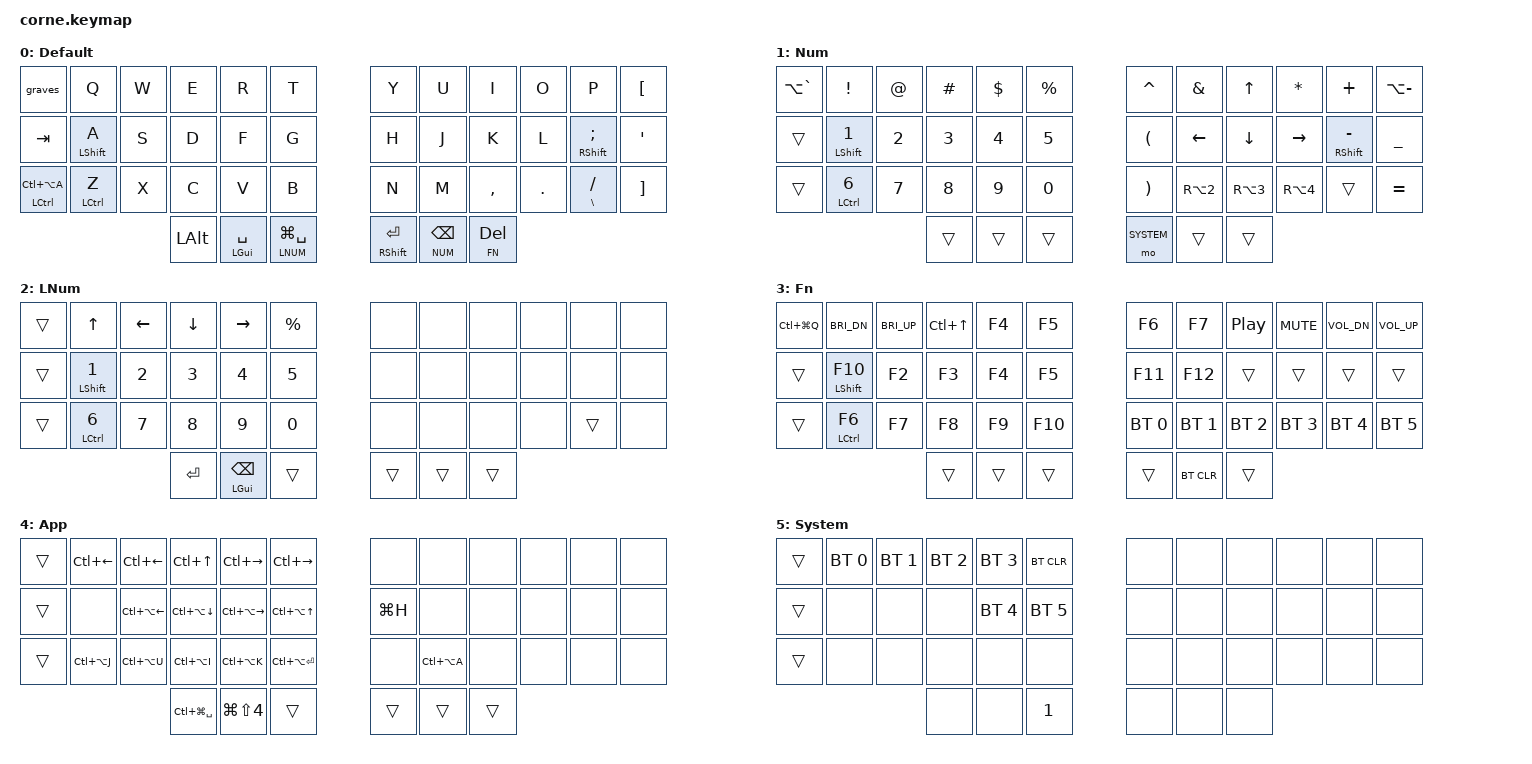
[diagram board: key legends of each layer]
/*
 * Copyright (c) 2020 The ZMK Contributors
 *
 * SPDX-License-Identifier: MIT
 */

#include <behaviors.dtsi>
#include <dt-bindings/zmk/keys.h>
#include <dt-bindings/zmk/bt.h>
#include <dt-bindings/zmk/outputs.h>

#define DEFAULT 0
#define NUM     1
#define LNUM    2
#define FN      3
#define APP     4
#define SYSTEM  5

&lt { quick-tap-ms = <200>; };
&mt { quick-tap-ms = <200>; };

/ {

  behaviors {
    
    graves: grave_escape {
      compatible = "zmk,behavior-mod-morph";
      #binding-cells = <0>;
      bindings = <&lhp APP GRAVE>, <&kp ESC>;
      mods = <(MOD_LGUI|MOD_RGUI)>;
    };
      
    hm: homerow_mods {
      compatible = "zmk,behavior-hold-tap";
      label = "HOMEROW_MODS";
      #binding-cells = <2>;
      tapping_term_ms = <300>;
      quick-tap-ms = <300>;
      flavor = "tap-preferred";
      bindings = <&kp>, <&kp>;
    };

    hmt: homerow_mods_no_quicktap {
      compatible = "zmk,behavior-hold-tap";
      label = "HOMEROW_MODS";
      #binding-cells = <2>;
      tapping_term_ms = <200>;
      quick-tap-ms = <200>;
      flavor = "balanced";
      bindings = <&kp>, <&kp>;
    };

    ltp: layer_tap_prefered {
      compatible = "zmk,behavior-hold-tap";
      label = "LAYER_TAP_PREFERED";
      #binding-cells = <2>;
      tapping_term_ms = <200>;
      quick-tap-ms = <100>;
      flavor = "tap-preferred";
      bindings = <&mo>, <&kp>;
    };

    lhp: layer_hold_prefered {
      compatible = "zmk,behavior-hold-tap";
      label = "LAYER_HOLD_PREFERED";
      #binding-cells = <2>;
      tapping_term_ms = <250>;
      flavor = "hold-preferred";
      bindings = <&mo>, <&kp>;
    };
  };

  keymap {
    compatible = "zmk,keymap";

  //       default_layer {
  //       label = "Default";
  //       bindings = <
  //               &graves                &kp Q          &kp W        &kp E   &kp R   &kp T         &kp Y       &kp U     &kp I       &kp O      &kp P             &kp LBKT
  //               &kp TAB                &hm LSHFT A    &kp S        &kp D   &kp F   &kp G         &kp H       &kp J     &kp K       &kp L      &hm RSHFT SEMI    &kp APOS
  //               &hm LCTRL LC(LA(A))    &hm LCTRL Z    &kp X        &kp C   &kp V   &kp B         &kp N       &kp M     &kp COMMA   &kp DOT    &mt BSLH FSLH     &kp RBKT
  //                                      &kp LALT       &hm LGUI SPACE   &ltp LNUM LG(SPACE)       &lhp RSHFT ENTER   &lhp NUM BSPC   &ltp FN DEL
  //       >; 
  //

        default_layer {
        label = "Default";
        bindings = <
                &graves                &kp Q          &kp W        &kp E   &kp R   &kp T         &kp Y        &kp U      &kp I         &kp O      &kp P             &kp LBKT
                &kp TAB                &hm LSHFT A    &kp S        &kp D   &kp F   &kp G         &kp H        &kp J      &kp K         &kp L      &hm RSHFT SEMI    &kp APOS
                &hm LCTRL LC(LA(A))    &hm LCTRL Z    &kp X        &kp C   &kp V   &kp B         &kp N        &kp M      &kp COMMA     &kp DOT    &mt BSLH FSLH     &kp RBKT
                                       &kp LALT       &hm LGUI SPACE   &ltp LNUM LG(SPACE)       &hm RSHFT ENTER   &lhp NUM BSPC   &ltp FN DEL
        >; 
  };

        num_layer {
        label="Num";
        bindings = <
                &kp LA(GRAVE) &kp EXCL &kp AT &kp HASH &kp DLLR &kp PERCENT        &kp CARET      &kp AMPS      &kp UP      &kp STAR      &kp PLUS           &kp LA(MINUS)
                &trans        &hm LSHFT N1 &kp N2 &kp N3 &kp N4 &kp N5             &kp LPAR       &kp LEFT      &kp DOWN    &kp RIGHT     &hm RSHFT MINUS    &kp UNDER
                &trans        &hm LCTRL N6 &kp N7 &kp N8 &kp N9 &kp N0             &kp RPAR       &kp RA(N2)    &kp RA(N3)  &kp RA(N4)    &trans             &kp EQUAL
                &trans &trans &trans                                               &mo SYSTEM     &trans        &trans  
      >;
    };

        lnum_layer {
        label="LNum";
        bindings = <
                &trans     &kp UP     &kp LEFT  &kp DOWN  &kp RIGHT   &kp PERCENT       &none     &none       &none     &none       &none       &none
                &trans     &hm LSHFT N1 &kp N2 &kp N3 &kp N4 &kp N5                     &none     &none       &none     &none       &none       &none
                &trans     &hm LCTRL N6 &kp N7 &kp N8 &kp N9 &kp N0                     &none     &none       &none     &none       &trans      &none 
                                                &kp ENTER  &hm LGUI BSPC    &trans      &trans    &trans      &trans    
      >;
    };    


        fn_layer {
        label = "Fn";
        bindings = <
                &kp LC(LG(Q))  &kp C_BRI_DN  &kp C_BRI_UP  &kp LC(UP)  &kp F4  &kp F5   &kp F6          &kp F7          &kp C_PP        &kp C_MUTE      &kp C_VOL_DN  &kp C_VOL_UP
                &trans  &hm LSHFT F10 &kp F2        &kp F3      &kp F4  &kp F5          &kp F11         &kp F12         &trans           &trans           &trans         &trans
                &trans  &hm LCTRL F6  &kp F7        &kp F8      &kp F9  &kp F10         &bt BT_SEL 0    &bt BT_SEL 1    &bt BT_SEL 2    &bt BT_SEL 3    &bt BT_SEL 4  &bt BT_SEL 5
                                                    &trans      &trans  &trans          &trans          &bt BT_CLR      &trans  

                    >;
    };

    // app_layer {
    //   label = "App";
    //   bindings = <  
      
    //          &trans  &kp LC(LEFT)       &kp LEFT             &kp LC(UP)              &kp RIGHT                &kp LC(RIGHT)                  &none   &none           &none     &none       &none         &none
    //          &trans  &hm LSHFT N1       &kp N2               &kp N3                  &kp N4                   &kp N5                         &kp LG(H)   &none           &none     &none       &none         &none
    //          &trans  &hm LCTRL N6       &kp N7               &kp N8                  &kp N9                   &kp N0                         &none   &kp LC(LA(A))   &none     &none       &none         &none
    //          &kp LG(LS(N4))             &kp LC(LG(SPACE))    &trans                                                                          &trans  &trans          &trans
    //   >;
    // };

    app_layer {
      label = "App";
      bindings = <  
      
        &trans  &kp LC(LEFT)       &kp LC(LEFT)         &kp LC(UP)              &kp LC(RIGHT)            &kp LC(RIGHT)                  &none   &none           &none     &none       &none         &none
        &trans  &none              &kp LC(LA(LEFT))     &kp LC(LA(DOWN))        &kp LC(LA(RIGHT))        &kp LC(LA(UP))             &kp LG(H)   &none           &none     &none       &none         &none
        &trans  &kp LC(LA(J))      &kp LC(LA(U))        &kp LC(LA(I))           &kp LC(LA(K))            &kp LC(LA(ENTER))          &none   &kp LC(LA(A))   &none     &none       &none         &none
        &kp LC(LG(SPACE))          &kp LG(LS(N4))       &trans                                                                      &trans  &trans          &trans
      >;
    };

    system_layer {

      label = "System";
      bindings = <
   
        &trans  &bt BT_SEL 0    &bt BT_SEL 1    &bt BT_SEL 2    &bt BT_SEL 3    &bt BT_CLR           &none        &none        &none        &none        &none   &none
        &trans  &none           &none           &none           &bt BT_SEL 4    &bt BT_SEL 5         &none        &none        &none        &none        &none   &none
        &trans  &none           &none           &none           &none           &none                &none        &none        &none        &none        &none   &none
                                &none           &none           &kp N1                               &none        &none        &none
      >;
    };
  };
  
};
